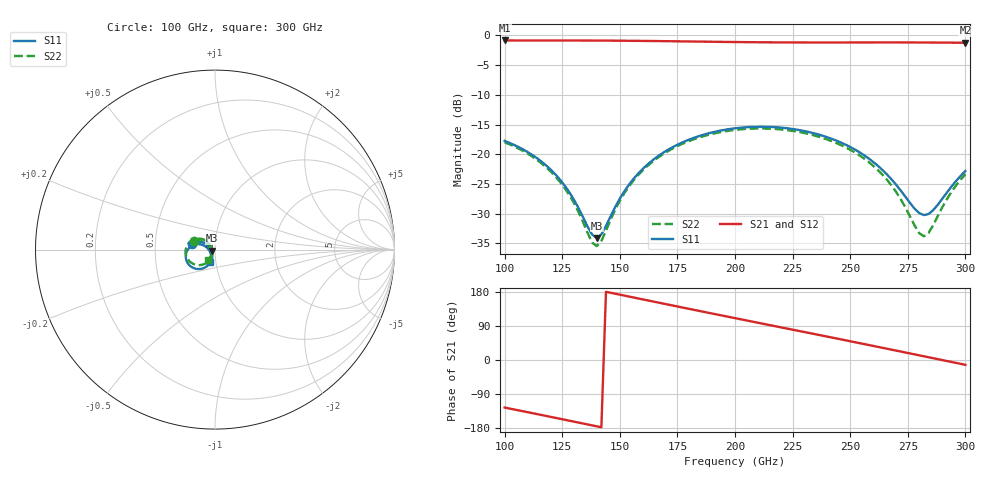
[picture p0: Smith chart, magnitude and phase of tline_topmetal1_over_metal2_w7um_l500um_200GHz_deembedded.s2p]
! Created with skrf 2.0.1 (http://scikit-rf.org).
# GHz S DB R 50.0
!freq dBS11 angS11 dBS21 angS21 dBS12 angS12 dBS22 angS22
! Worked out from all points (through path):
!   101 points, 100 GHz to 300 GHz, reference 50 ohm
!   highest |S21| = -0.85 dB at 100 GHz (marker M1); lowest = -1.2 dB at 300 GHz (marker M2)
!   group delay of S21, straight-line fit = 3.43 ps
!   lowest |S11| = -34.1 dB at 140 GHz (marker M3), VSWR 1.04, Z = 48.2 - j0.639 ohm
!   |S11| at or under -10 dB: start of sweep to end of sweep
!   |S22| runs from -35.5 to -15.7 dB; largest |S21 - S12| = 1e-13
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100  -17.76 165.5  -0.85 -125.4  -0.85 -125.4  -17.99 157.7
110  -19.63 155.7  -0.85 -137.7  -0.85 -137.7  -19.90 146.9
120  -22.59 148.3  -0.85 -150.1  -0.85 -150.1  -22.92 138.2
128  -26.35 147.5  -0.86 -160.0  -0.86 -160.0  -26.81 136.0
134  -30.56 157.9  -0.86 -167.5  -0.86 -167.5  -31.38 145.3
138  -33.54 -178.8  -0.86 -172.5  -0.86 -172.5  -34.87 170.3
140  -34.09 -160.4  -0.87 -175.0  -0.87 -175.0  -35.48 -168.4
142  -33.48 -142.1  -0.87 -177.5  -0.87 -177.5  -34.60 -147.9
148  -28.89 -113.8  -0.88 174.9  -0.88 174.9  -29.32 -120.4
154  -25.12 -108.4  -0.90 167.4  -0.90 167.4  -25.40 -116.7
168  -19.96 -115.2  -0.96 149.9  -0.96 149.9  -20.19 -125.8
184  -16.99 -130.0  -1.04 130.1  -1.04 130.1  -17.24 -142.4
200  -15.64 -146.3  -1.11 110.5  -1.11 110.5  -15.90 -160.4
216  -15.42 -162.7  -1.16 91.0  -1.16 91.0  -15.71 -178.4
234  -16.44 179.6  -1.19 69.1  -1.19 69.1  -16.80 161.7
254  -19.66 163.2  -1.18 44.6  -1.18 44.6  -20.19 141.9
268  -24.26 160.5  -1.18 27.2  -1.18 27.2  -25.29 135.1
280  -29.92 -168.8  -1.19 12.3  -1.19 12.3  -33.30 169.0
282  -30.25 -157.3  -1.19 9.8  -1.19 9.8  -33.81 -173.5
286  -29.43 -135.2  -1.20 4.8  -1.20 4.8  -31.96 -142.7
294  -25.43 -113.6  -1.22 -5.2  -1.22 -5.2  -26.32 -123.5
300  -22.82 -110.4  -1.24 -12.7  -1.24 -12.7  -23.37 -123.2
